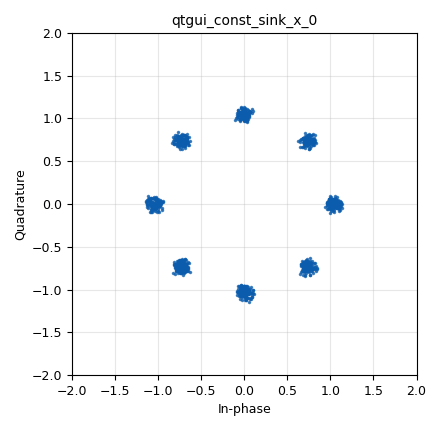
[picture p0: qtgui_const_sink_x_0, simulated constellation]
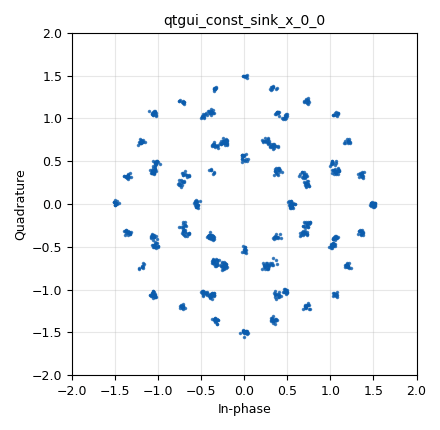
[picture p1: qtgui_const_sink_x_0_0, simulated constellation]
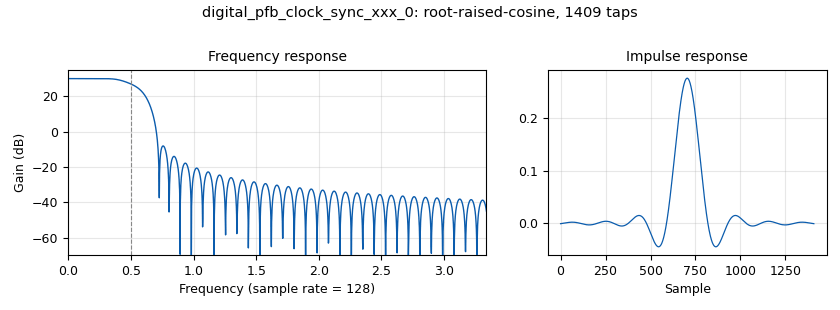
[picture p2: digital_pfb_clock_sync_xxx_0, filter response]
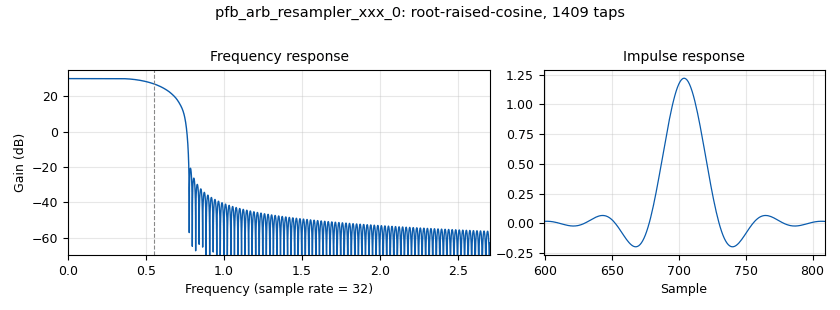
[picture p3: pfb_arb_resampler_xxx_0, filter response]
options:
  parameters:
    author: Prasann
    generate_options: qt_gui
    id: task1
    output_language: python
    title: Task 1
  states: {}

blocks:
- name: nfilts
  id: variable
  parameters:
    value: '32'
  states: {}
- name: ntaps
  id: variable
  parameters:
    value: 11*nfilts*sps
  states: {}
- name: rx_taps
  id: variable
  parameters:
    value: firdes.root_raised_cosine(nfilts,nfilts*sps,1.0,0.4,ntaps)
  states: {}
- name: samp_rate
  id: variable
  parameters:
    value: '32000'
  states: {}
- name: sps
  id: variable
  parameters:
    value: '4'
  states: {}
- name: timing_bw
  id: variable
  parameters:
    value: 2*pi/100
  states: {}
- name: tx_taps
  id: variable
  parameters:
    value: firdes.root_raised_cosine(nfilts,nfilts,1.1,0.4,ntaps)
  states: {}
- name: analog_random_source_x_0
  id: analog_random_source_x
  parameters:
    max: '8'
    min: '0'
    num_samps: '1000'
    repeat: 'True'
    type: byte
  states: {}
- name: blocks_add_xx_0
  id: blocks_add_xx
  parameters:
    type: complex
  states: {}
- name: blocks_delay_0
  id: blocks_delay
  parameters:
    delay: '1'
    type: complex
  states: {}
- name: blocks_multiply_const_vxx_0
  id: blocks_multiply_const_vxx
  parameters:
    const: '0.5'
    type: complex
  states: {}
- name: blocks_throttle_0
  id: blocks_throttle
  parameters:
    samples_per_second: samp_rate
    type: complex
  states: {}
- name: blocks_throttle_0_0
  id: blocks_throttle
  parameters:
    samples_per_second: samp_rate
    type: complex
  states: {}
- name: digital_chunks_to_symbols_xx_0
  id: digital_chunks_to_symbols_xx
  parameters:
    dimension: '1'
    in_type: byte
    out_type: complex
    symbol_table: ((-0.707-0.707j),(-1-0j),(-0.707+0.707j),(0+1j),(0.707+0.707j),(1+0j),(0.707-0.707j),(0-1j))
  states: {}
- name: digital_pfb_clock_sync_xxx_0
  id: digital_pfb_clock_sync_xxx
  parameters:
    filter_size: '32'
    init_phase: '16'
    loop_bw: timing_bw
    max_dev: '1.5'
    osps: '1'
    sps: sps
    taps: rx_taps
    type: ccf
  states: {}
- name: import_0
  id: import
  parameters:
    imports: from math import pi as pi
  states: {}
- name: import_1
  id: import
  parameters:
    imports: from gnuradio import digital
  states: {}
- name: import_2
  id: import
  parameters:
    imports: from gnuradio.filter import firdes
  states: {}
- name: pfb_arb_resampler_xxx_0
  id: pfb_arb_resampler_xxx
  parameters:
    atten: '100'
    nfilts: '32'
    rrate: sps
    taps: tx_taps
    type: ccf
  states: {}
- name: qtgui_const_sink_x_0
  id: qtgui_const_sink_x
  parameters:
    gui_hint: tab@0
    size: '1024'
    type: complex
  states: {}
- name: qtgui_const_sink_x_0_0
  id: qtgui_const_sink_x
  parameters:
    gui_hint: tab@1
    size: '1024'
    type: complex
  states: {}
- name: tab
  id: qtgui_tab_widget
  parameters:
    label0: Before Multipath
    label1: After Multipath
    num_tabs: '2'
  states: {}

connections:
- [analog_random_source_x_0, '0', digital_chunks_to_symbols_xx_0, '0']
- [blocks_add_xx_0, '0', blocks_throttle_0_0, '0']
- [blocks_delay_0, '0', blocks_multiply_const_vxx_0, '0']
- [blocks_multiply_const_vxx_0, '0', blocks_add_xx_0, '1']
- [blocks_throttle_0, '0', qtgui_const_sink_x_0, '0']
- [blocks_throttle_0_0, '0', qtgui_const_sink_x_0_0, '0']
- [digital_chunks_to_symbols_xx_0, '0', pfb_arb_resampler_xxx_0, '0']
- [digital_pfb_clock_sync_xxx_0, '0', blocks_add_xx_0, '0']
- [digital_pfb_clock_sync_xxx_0, '0', blocks_delay_0, '0']
- [digital_pfb_clock_sync_xxx_0, '0', blocks_throttle_0, '0']
- [pfb_arb_resampler_xxx_0, '0', digital_pfb_clock_sync_xxx_0, '0']

metadata:
  file_format: 1
